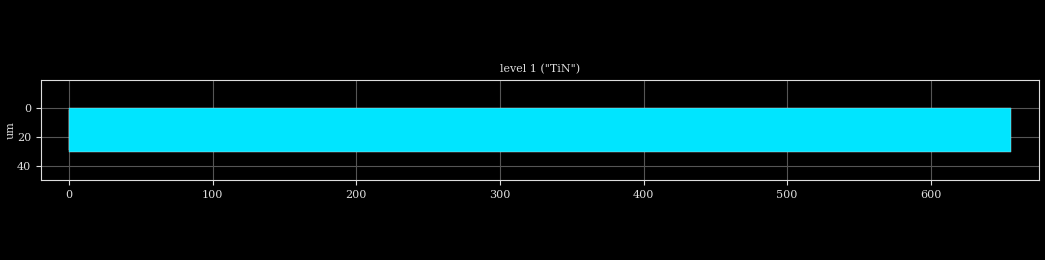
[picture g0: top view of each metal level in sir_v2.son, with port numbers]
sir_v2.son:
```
FTYP SONPROJ 15 ! Sonnet Project File
VER 
HEADER
LIC 
DAT 07/21/2026 12:28:24
BUILT_BY_CREATED unknown "unknown version" 07/21/2026 12:28:24
BUILT_BY_SAVED unknown "unknown version"
ANN Created by pysonnet 0.0.4
END HEADER
DIM
CDVY SM
FREQ GHZ
RSVY OHCM
SRES OHSQ
IND NH
LNG UM
ANG DEG
CON /OH
CAP PF
RES OH
END DIM
GEO


SNPANG 45


TMET "Free Space" 0 FREESPACE 376.7303136 0 0 0
BMET "Free Space" 0 FREESPACE 376.7303136 0 0 0
MET "TiN" 1 SUP 0 0 0 12
MET "Nb" 2 SUP 0 0 0 0.1




BOX 2 656.0 30.0 400 400 20 0
1000 1 1 0 0 0 0 "Air"      
0.15 10.3 1 1e-05 0 0 0 "aSi"      
500 9.3 1 0 0 0 0 "Sapphire" A 11.5 1 0 0 0

TECHLAY METAL "Nb"  <UNSPECIFIED> -1 0

0 0 1 N 0 1 1 100 100 0 0 0 Y

END
END

TECHLAY METAL "TiN"  <UNSPECIFIED> -1 0

1 0 0 N 0 1 1 100 100 0 0 0 Y

END
END



POR1 STD 

POLY 80 1
3
1 50 0 0 0 0.0 15.0  
POR1 STD 

POLY 81 1
1
2 50 0 0 0 655.3 15.0  



NUM 8

1 5 -1 N 80 1 1 100 100 0 0 0 Y

TLAYNAM "TiN" INH
0.00000000 0.85000000
23.00000000 0.85000000
23.00000000 29.15000000
0.00000000 29.15000000
0.00000000 0.85000000

END

1 5 -1 N 0 1 1 100 100 0 0 0 Y

TLAYNAM "TiN" INH
23.00000000 14.30000000
189.10000000 14.30000000
189.10000000 15.70000000
23.00000000 15.70000000
23.00000000 14.30000000

END

1 5 -1 N 0 1 1 100 100 0 0 0 Y

TLAYNAM "TiN" INH
189.10000000 0.85000000
233.70000000 0.85000000
233.70000000 29.15000000
189.10000000 29.15000000
189.10000000 0.85000000

END

1 5 -1 N 0 1 1 100 100 0 0 0 Y

TLAYNAM "TiN" INH
233.70000000 14.30000000
421.60000000 14.30000000
421.60000000 15.70000000
233.70000000 15.70000000
233.70000000 14.30000000

END

1 5 -1 N 0 1 1 100 100 0 0 0 Y

TLAYNAM "TiN" INH
421.60000000 0.85000000
466.20000000 0.85000000
466.20000000 29.15000000
421.60000000 29.15000000
421.60000000 0.85000000

END

1 5 -1 N 0 1 1 100 100 0 0 0 Y

TLAYNAM "TiN" INH
466.20000000 14.30000000
632.30000000 14.30000000
632.30000000 15.70000000
466.20000000 15.70000000
466.20000000 14.30000000

END

1 5 -1 N 81 1 1 100 100 0 0 0 Y

TLAYNAM "TiN" INH
632.30000000 0.85000000
655.30000000 0.85000000
655.30000000 29.15000000
632.30000000 29.15000000
632.30000000 0.85000000

END

1 5 -1 N 0 1 1 100 100 0 0 0 Y

TLAYNAM "Nb" INH
0.00000000 0.00000000
0.00000000 30.00000000
656.00000000 30.00000000
656.00000000 0.00000000
0.00000000 0.00000000

ENDEND
END GEO
FREQ
ABS_ENTRY 1.0 16.0

END FREQ
CONTROL
STD
OPTIONS  -d
SUBSPLAM Y 20



SPEED 0

CACHE_ABS 1
TARG_ABS 300
Q_ACC N
DET_ABS_RES False

END CONTROL
OPT
MAX 300
VARS

END

END OPT
VARSWP

END VARSWP

FILEOUT





FOLDER .
END FILEOUT
SUBDIV
MAIN $BASENAME_net.son
REFPLANE A 0


END SUBDIV
QSG
IMPORT NO
EXTRA_METAL NO
UNITS NO
ALIGN NO
REF NO
VIEW_RES NO
METALS NO
USED YES
END QSG
SMDFILES

END SMDFILES
TRANSLATOR

END TRANSLATOR
```
